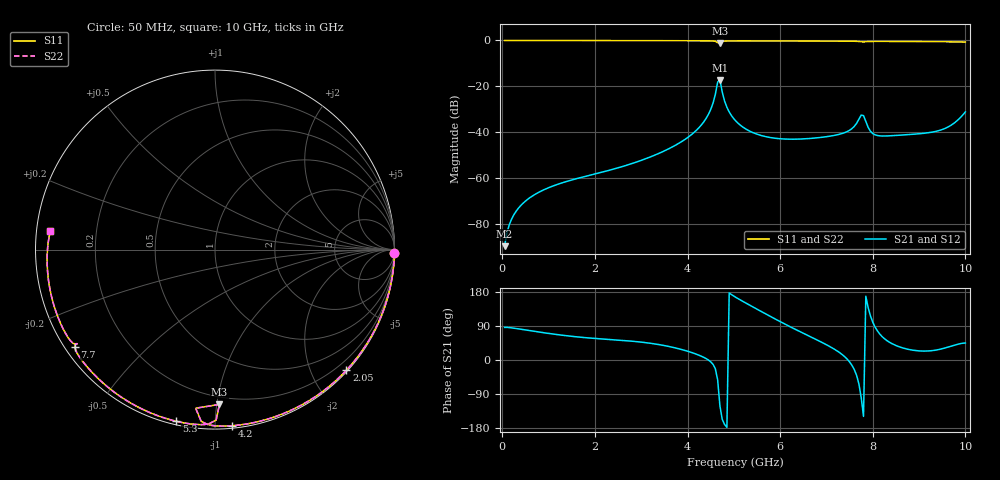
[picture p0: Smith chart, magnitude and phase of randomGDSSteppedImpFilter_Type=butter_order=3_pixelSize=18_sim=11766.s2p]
! freq	dB(S11)	phase(S11)	dB(S12)	phase(S12)
!  dB(S21)	phase(S21)	dB(S22)	phase(S22)
!S-par simulation data
#  GHz  S  DB  R 50
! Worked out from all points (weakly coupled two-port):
!   200 points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, 50 MHz to 10 GHz, reference 50 ohm
!   highest |S21| = -17.23 dB at 4.7 GHz (marker M1); lowest = -89.8 dB at 50 MHz (marker M2)
!   lowest |S11| = -1.3 dB at 4.7 GHz (marker M3), VSWR 13.59, Z = 7.53 - j50.9 ohm
!   |S11| at or under -10 dB: nowhere
!   |S22| runs from -1.3 to 0.0 dB; largest |S21 - S12| = 0
!   S11 on the Smith chart (normalised r, x): 50 MHz: open; 2.05 GHz: 0.02, -2.57; 4.2 GHz: 0.02, -1.10; 5.3 GHz: 0.02, -0.80; 7.7 GHz: 0.03, -0.31; 10 GHz: 0.04, +0.06
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0.05  -0.00 -1.1  -89.79 85.9  -89.79 85.9  -0.00 -1.1
0.15  -0.00 -3.2  -80.48 85.6  -80.48 85.6  -0.00 -3.2
0.7  -0.02 -14.8  -67.26 75.5  -67.26 75.5  -0.02 -14.8
1.75  -0.05 -36.5  -59.55 59.4  -59.55 59.4  -0.05 -36.5
2.05  -0.05 -42.5  -58.02 56.4  -58.02 56.4  -0.05 -42.5
3.4  -0.09 -69.0  -49.13 40.3  -49.13 40.3  -0.09 -69.0
4.2  -0.12 -84.4  -39.05 14.9  -39.05 14.9  -0.12 -84.4
4.5  -0.18 -91.0  -30.15 -4.7  -30.15 -4.7  -0.18 -91.0
4.65  -1.01 -96.9  -18.17 -52.1  -18.17 -52.1  -1.01 -96.9
4.7  -1.28 -88.3  -17.23 -121.5  -17.23 -121.5  -1.28 -88.4
4.85  -0.21 -93.4  -29.16 -177.6  -29.16 -177.6  -0.21 -93.4
5.05  -0.17 -98.0  -35.32 164.7  -35.32 164.7  -0.17 -98.0
5.3  -0.17 -102.7  -39.12 147.5  -39.12 147.5  -0.17 -102.7
5.85  -0.20 -112.5  -42.58 111.0  -42.58 111.0  -0.20 -112.5
6.7  -0.25 -127.2  -42.69 58.7  -42.69 58.7  -0.25 -127.2
7.4  -0.31 -139.3  -40.18 8.0  -40.18 8.0  -0.31 -139.3
7.7  -0.44 -145.2  -34.42 -62.7  -34.42 -62.7  -0.44 -145.2
7.8  -0.63 -145.7  -32.78 -148.9  -32.78 -148.9  -0.63 -145.7
8.05  -0.41 -149.6  -41.19 87.0  -41.19 87.0  -0.41 -149.6
8.35  -0.41 -155.0  -41.64 47.7  -41.64 47.7  -0.41 -155.0
9.45  -0.55 -175.1  -39.21 28.3  -39.21 28.3  -0.55 -175.0
10  -0.70 173.5  -31.17 44.9  -31.17 44.9  -0.70 173.5
